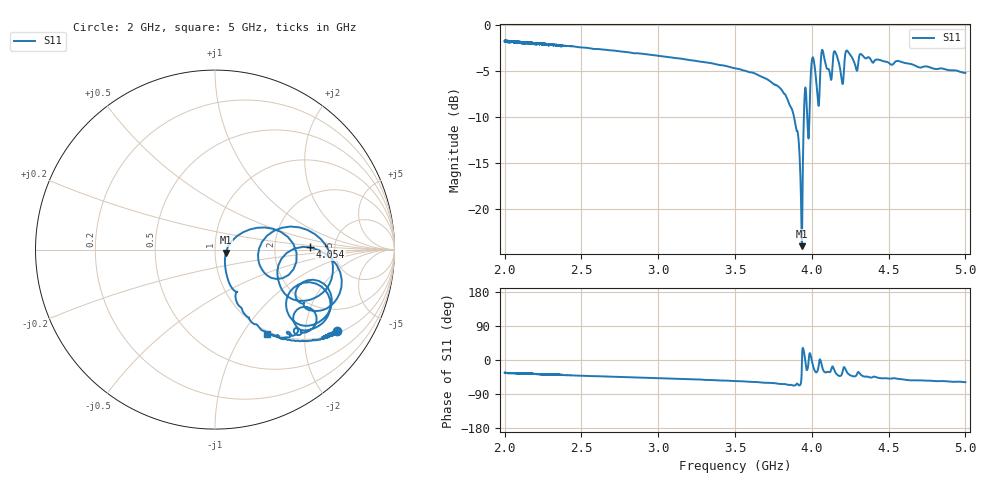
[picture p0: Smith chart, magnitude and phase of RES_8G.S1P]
!Agilent Technologies,E5071C,MY46214220,A.11.31
!Date: Fri Sep 22 12:30:45 2017
!Data & Calibration Information:
!Freq	S11:SOLT1(ON)
!PortZ  Port1:50+j0
!Above PortZ is port z conversion or system Z0 setting when saving the data.
!When reading, reference impedance value at option line is always used.
# Hz S dB R 50
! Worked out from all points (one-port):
!   10000 points, 2 GHz to 5 GHz, reference 50 ohm
!   lowest |S11| = -24.1 dB at 3.935 GHz (marker M1), VSWR 1.13, Z = 56.3 - j2.04 ohm
!   |S11| at or under -10 dB: 3.884 GHz to 3.948 GHz (63.99 MHz wide, 1.63 % of centre); 3.970032 GHz to 3.984506 GHz (14.47 MHz wide, 0.364 % of centre)
!   S11 on the Smith chart (normalised r, x): 2 GHz: 1.07, -2.96; 4.054 GHz: 3.24, +0.11; 5 GHz: 0.96, -1.29
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2e9  -1.73 -33.6
2.375038e9  -2.22 -39.8
2.750075e9  -2.83 -45.0
3.125113e9  -3.58 -50.0
3.50015e9  -4.67 -55.7
3.875188e9  -9.35 -66.8
3.914791e9  -12.68 -66.2
3.925593e9  -16.32 -65.1
3.935194e9  -24.10 -16.8
3.956496e9  -6.89 -1.1
3.979898e9  -12.25 -0.1
4.0039e9  -3.56 -8.2
4.023402e9  -5.16 -31.1
4.038104e9  -7.89 -27.6
4.053705e9  -5.53 1.3
4.068107e9  -2.66 -19.0
4.083708e9  -3.77 -31.8
4.130813e9  -5.42 -18.8
4.149115e9  -2.82 -29.8
4.170717e9  -3.69 -40.5
4.191419e9  -5.50 -40.6
4.208521e9  -5.15 -19.2
4.225323e9  -2.74 -29.9
4.250225e9  -3.22 -40.3
4.29883e9  -4.63 -32.9
4.336634e9  -3.40 -43.2
4.625263e9  -4.15 -53.0
5e9  -5.18 -58.5
